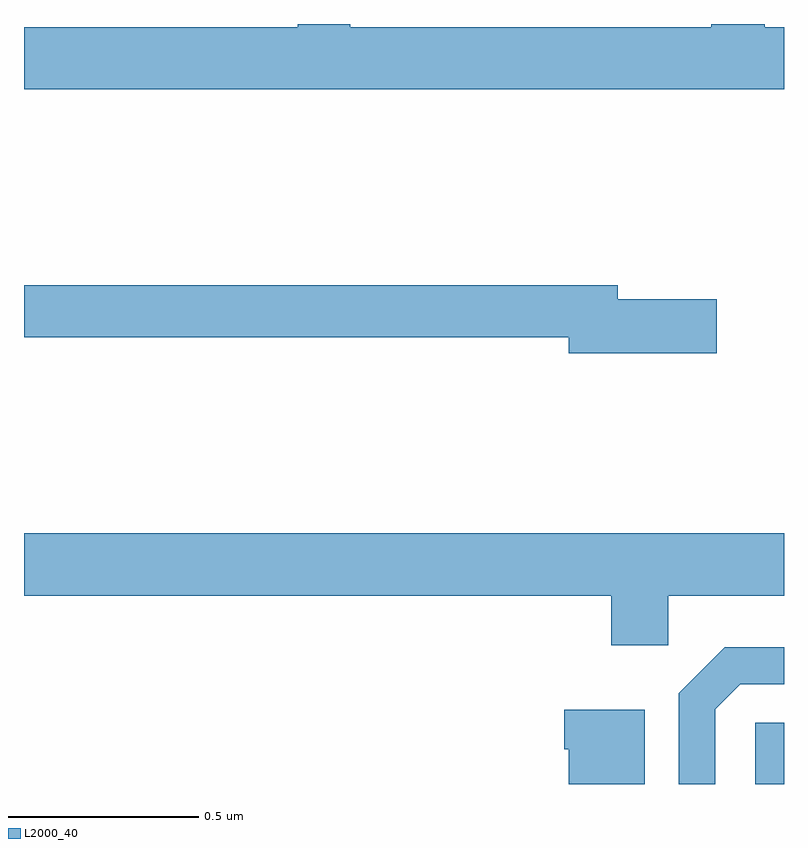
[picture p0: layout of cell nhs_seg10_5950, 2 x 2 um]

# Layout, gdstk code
import gdstk
lib = gdstk.Library(unit=1e-6, precision=1e-09)
def R(c, l, rs):  # rectangles x0, y0, x1, y1
    for r in rs: c.add(gdstk.rectangle(r[:2], r[2:], *l))
def P(c, l, *ps):  # polygons
    for p in ps: c.add(gdstk.Polygon(p, *l))
L2000_40 = (2000, 40)

nhs_seg10_5950 = lib.new_cell('nhs_seg10_5950')
R(nhs_seg10_5950, L2000_40, [(186.924,1286.5,187,1286.661)])
P(nhs_seg10_5950, L2000_40, [(187,1288.492),(186.949,1288.492),(186.949,1288.5),(186.809,1288.5),(186.809,1288.492),(185.859,1288.492),(185.859,1288.5),(185.72,1288.5),(185.72,1288.492),(185,1288.492),(185,1288.328),(187,1288.328)],
  [(186.823,1287.776),(186.562,1287.776),(186.562,1287.812),(185,1287.812),(185,1287.676),(186.434,1287.676),(186.434,1287.634),(186.823,1287.634)],
  [(186.696,1286.996),(187,1286.996),(187,1287.16),(185,1287.16),(185,1286.996),(186.545,1286.996),(186.545,1286.865),(186.696,1286.865)],
  [(186.819,1286.697),(186.885,1286.763),(187,1286.763),(187,1286.86),(186.844,1286.86),(186.723,1286.739),(186.723,1286.5),(186.819,1286.5)],
  [(186.634,1286.695),(186.422,1286.695),(186.422,1286.591),(186.434,1286.591),(186.434,1286.5),(186.634,1286.5)])

lib.write_gds('nhs_seg10_5950.gds')
